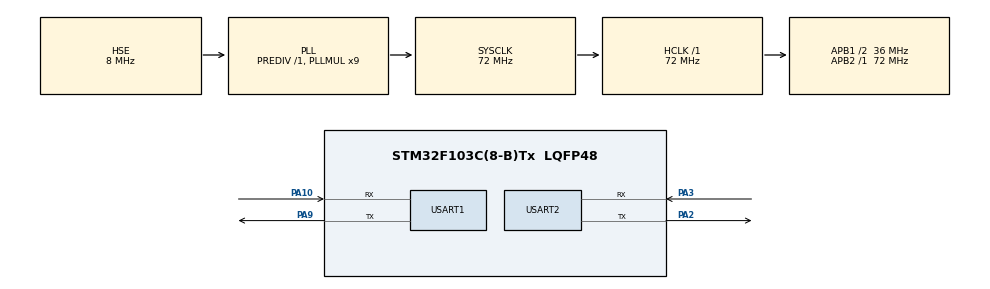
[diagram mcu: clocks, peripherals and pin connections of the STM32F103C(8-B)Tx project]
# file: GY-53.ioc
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Mcu.Family=STM32F1
Mcu.Name=STM32F103C(8-B)Tx
Mcu.Package=LQFP48
NVIC.PriorityGroup=NVIC_PRIORITYGROUP_4
NVIC.USART2_IRQn=true\:0\:0\:false\:false\:true\:true\:true
PA10.Mode=Asynchronous
PA10.Signal=USART1_RX
PA13.Mode=Serial_Wire
PA13.Signal=SYS_JTMS-SWDIO
PA14.Mode=Serial_Wire
PA14.Signal=SYS_JTCK-SWCLK
PA2.Mode=Asynchronous
PA2.Signal=USART2_TX
PA3.Mode=Asynchronous
PA3.Signal=USART2_RX
PA9.Mode=Asynchronous
PA9.Signal=USART1_TX
PD0-OSC_IN.Mode=HSE-External-Oscillator
PD0-OSC_IN.Signal=RCC_OSC_IN
PD1-OSC_OUT.Mode=HSE-External-Oscillator
PD1-OSC_OUT.Signal=RCC_OSC_OUT
ProjectManager.HeapSize=0x200
ProjectManager.StackSize=0x400
ProjectManager.TargetToolchain=MDK-ARM V5.27
RCC.AHBFreq_Value=72000000
RCC.APB1CLKDivider=RCC_HCLK_DIV2
RCC.APB1Freq_Value=36000000
RCC.APB1TimFreq_Value=72000000
RCC.APB2Freq_Value=72000000
RCC.APB2TimFreq_Value=72000000
RCC.HCLKFreq_Value=72000000
RCC.PLLMUL=RCC_PLL_MUL9
RCC.PLLSourceVirtual=RCC_PLLSOURCE_HSE
RCC.SYSCLKFreq_VALUE=72000000
RCC.SYSCLKSource=RCC_SYSCLKSOURCE_PLLCLK
RCC.USBFreq_Value=72000000
USART1.VirtualMode=VM_ASYNC
USART2.VirtualMode=VM_ASYNC
board=custom

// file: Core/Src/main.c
/* USER CODE BEGIN Header */
/**
  ******************************************************************************
  * @file           : main.c
  * @brief          : Main program body
  ******************************************************************************
  * @attention
  *
  * <h2><center>&copy; Copyright (c) 2021 STMicroelectronics.
  * All rights reserved.</center></h2>
  *
  * This software component is licensed by ST under BSD 3-Clause license,
  * the "License"; You may not use this file except in compliance with the
  * License. You may obtain a copy of the License at:
  *                        opensource.org/licenses/BSD-3-Clause
  *
  ******************************************************************************
  */
/* USER CODE END Header */
#include "main.h"
#include "usart.h"
#include "gpio.h"

/* USER CODE BEGIN Includes */
#include <stdio.h>
#include "GY-53.h"
/* USER CODE END Includes */

/* USER CODE BEGIN PTD */
uint16_t distance = 0;
/* USER CODE END PTD */

void SystemClock_Config(void);

int main(void)
{
  /* USER CODE BEGIN 1 */
  uint8_t sum = 0, i = 0;
  /* USER CODE END 1 */

  /* MCU Configuration--------------------------------------------------------*/

  /* Reset of all peripherals, Initializes the Flash interface and the Systick. */
  HAL_Init();

  /* Configure the system clock */
  SystemClock_Config();

  /* Initialize all configured peripherals */
  MX_GPIO_Init();
  MX_USART1_UART_Init();
  MX_USART2_UART_Init();
  /* USER CODE BEGIN 2 */
  HAL_UART_Receive_IT(&huart2, (uint8_t *)&aRxBuffer, 1);
  /* USER CODE END 2 */

  /* Infinite loop */
  while (1)
  {

    /* USER CODE BEGIN 3 */
    if (Receive_ok)
    {
      for (i = 0, sum = 0; i < Buffer[3] + 4; i++)
        sum += Buffer[i];
      if (sum == Buffer[i])
      {
        distance = Buffer[4] << 8 | Buffer[5];
        distance = filter(distance);
        printf("%d\r\n", distance);
        Receive_ok = 0;
      }
    }
  }
  /* USER CODE END 3 */
}

void SystemClock_Config(void)
{
  RCC_OscInitTypeDef RCC_OscInitStruct = {0};
  RCC_ClkInitTypeDef RCC_ClkInitStruct = {0};

  /** Initializes the RCC Oscillators according to the specified parameters
  * in the RCC_OscInitTypeDef structure.
  */
  RCC_OscInitStruct.OscillatorType = RCC_OSCILLATORTYPE_HSE;
  RCC_OscInitStruct.HSEState = RCC_HSE_ON;
  RCC_OscInitStruct.HSEPredivValue = RCC_HSE_PREDIV_DIV1;
  RCC_OscInitStruct.HSIState = RCC_HSI_ON;
  RCC_OscInitStruct.PLL.PLLState = RCC_PLL_ON;
  RCC_OscInitStruct.PLL.PLLSource = RCC_PLLSOURCE_HSE;
  RCC_OscInitStruct.PLL.PLLMUL = RCC_PLL_MUL9;
  if (HAL_RCC_OscConfig(&RCC_OscInitStruct) != HAL_OK)
  {
    Error_Handler();
  }
  /** Initializes the CPU, AHB and APB buses clocks
  */
  RCC_ClkInitStruct.ClockType = RCC_CLOCKTYPE_HCLK | RCC_CLOCKTYPE_SYSCLK | RCC_CLOCKTYPE_PCLK1 | RCC_CLOCKTYPE_PCLK2;
  RCC_ClkInitStruct.SYSCLKSource = RCC_SYSCLKSOURCE_PLLCLK;
  RCC_ClkInitStruct.AHBCLKDivider = RCC_SYSCLK_DIV1;
  RCC_ClkInitStruct.APB1CLKDivider = RCC_HCLK_DIV2;
  RCC_ClkInitStruct.APB2CLKDivider = RCC_HCLK_DIV1;

  if (HAL_RCC_ClockConfig(&RCC_ClkInitStruct, FLASH_LATENCY_2) != HAL_OK)
  {
    Error_Handler();
  }
}

/* USER CODE BEGIN 4 */
int fputc(int ch,FILE *f)
{
  HAL_UART_Transmit(&huart1,(uint8_t *)&ch,1,0xff);
  return ch;
}
/* USER CODE END 4 */

void Error_Handler(void)
{
  __disable_irq();
  while (1)
  {
  }
}

/************************ (C) COPYRIGHT STMicroelectronics *****END OF FILE****/
